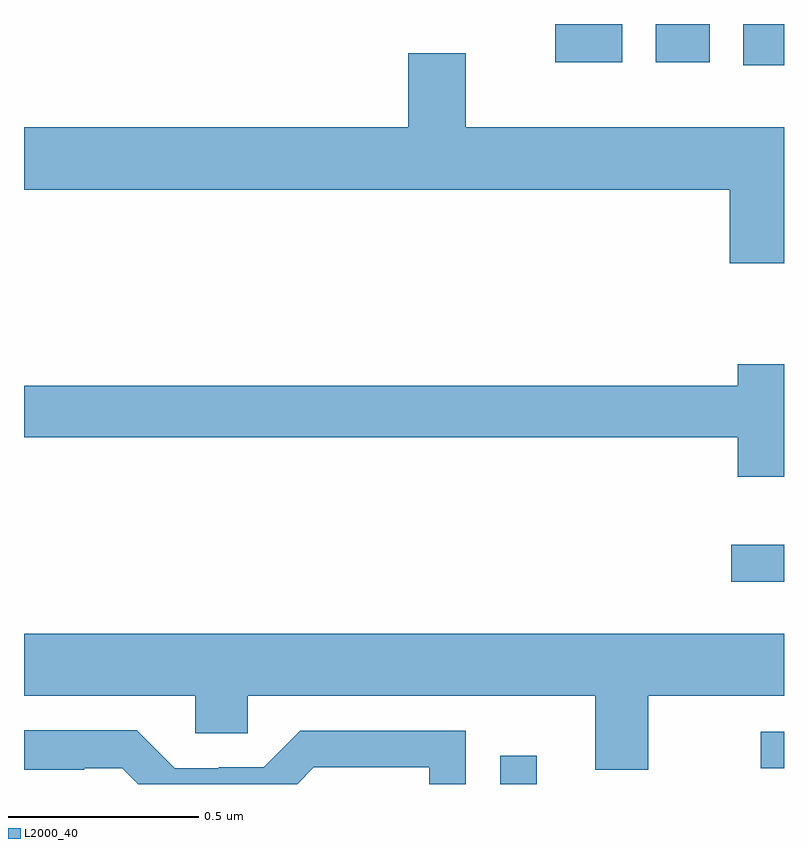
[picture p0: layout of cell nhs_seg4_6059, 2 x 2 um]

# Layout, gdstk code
import gdstk
lib = gdstk.Library(unit=1e-6, precision=1e-09)
def R(c, l, rs):  # rectangles x0, y0, x1, y1
    for r in rs: c.add(gdstk.rectangle(r[:2], r[2:], *l))
def P(c, l, *ps):  # polygons
    for p in ps: c.add(gdstk.Polygon(p, *l))
L2000_40 = (2000, 40)

nhs_seg4_6059 = lib.new_cell('nhs_seg4_6059')
R(nhs_seg4_6059, L2000_40, [(186.253,817.9,186.349,817.975), (186.939,817.941,187,818.037), (186.861,818.432,187,818.529), (186.893,819.792,187,819.9), (186.398,819.8,186.574,819.9), (186.662,819.8,186.805,819.9)])
P(nhs_seg4_6059, L2000_40, [(187,819.628),(186.163,819.628),(186.163,819.823),(186.011,819.823),(186.011,819.628),(185,819.628),(185,819.464),(186.857,819.464),(186.857,819.27),(187,819.27)],
  [(187,819.004),(186.878,819.004),(186.878,818.948),(185,818.948),(185,818.812),(186.878,818.812),(186.878,818.708),(187,818.708)],
  [(186.643,818.132),(187,818.132),(187,818.296),(185,818.296),(185,818.132),(185.451,818.132),(185.451,818.034),(185.589,818.034),(185.589,818.132),(186.503,818.132),(186.503,817.938),(186.643,817.938)],
  [(185.763,817.944),(186.066,817.944),(186.066,817.9),(186.162,817.9),(186.162,818.04),(185.727,818.04),(185.631,817.944),(185.513,817.944),(185.513,817.941),(185.397,817.941),(185.297,818.041),(185,818.041),(185,817.937),(185.159,817.937),(185.159,817.941),(185.259,817.941),(185.3,817.9),(185.719,817.9)])

lib.write_gds('nhs_seg4_6059.gds')
